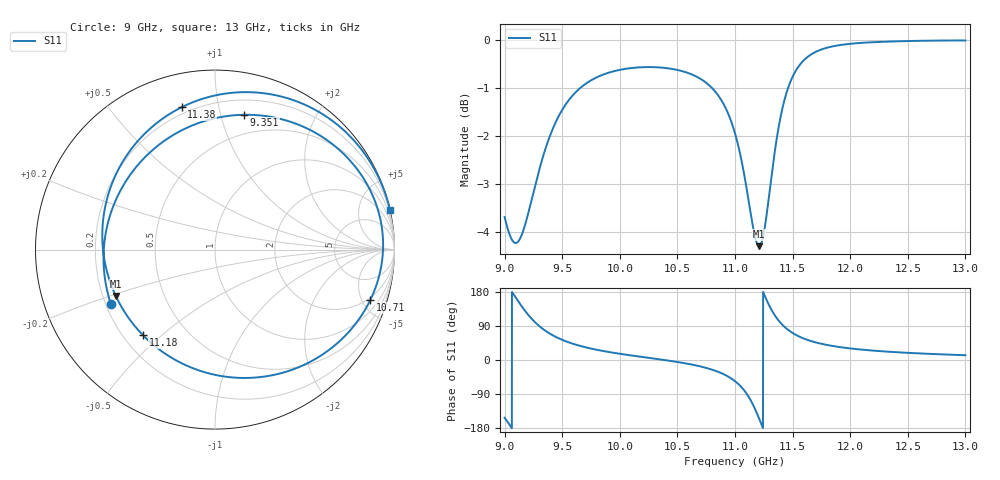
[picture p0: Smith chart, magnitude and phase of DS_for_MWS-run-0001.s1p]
! TOUCHSTONE file generated by CST DESIGN STUDIO
! Date and time: Tue Feb  4 16:47:05 2025
! Project name: C:\Work\MatlabApps\UnitCellOptimizationMatlab\CST\unitcell.cst
! Tree item: Tasks\Sweep1\SPara1\S-Parameters
! Header version: 2024
! Port assignment regex: !\s*Touchstone port\s*([0-9]+)\s*=\s*(CST MWS port|CST DES external port|CST DES block port)\s*(.+)\s* \(\"(.*)\"\)(\s*mode\s*([0-9]+))?.*
! Touchstone port assignment:
! Touchstone port 1 = CST DES external port 1 ("")
# GHz S MA R 50
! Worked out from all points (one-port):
!   4001 points, 9 GHz to 13 GHz, reference 50 ohm
!   lowest |S11| = -4.3 dB at 11.21 GHz (marker M1), VSWR 4.13, Z = 12.7 - j10.4 ohm
!   |S11| at or under -10 dB: nowhere
!   S11 on the Smith chart (normalised r, x): 9 GHz: 0.22, -0.23; 9.351 GHz: 0.32, +1.19; 10.71 GHz: 1.78, -5.80; 11.18 GHz: 0.28, -0.44; 11.38 GHz: 0.17, +0.78; 13 GHz: 0.01, +9.04
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9  0.6544 -152.4
9.093  0.6148 166.3
9.193  0.6519 123.6
9.267  0.7073 98.8
9.351  0.7686 77.8
9.5  0.8463 53.2
9.709  0.902 33.1
10  0.9317 16.4
10.5  0.9315 -5.2
10.713  0.9098 -17.9
10.879  0.8673 -34.4
11  0.8 -55.9
11.101  0.7006 -88.9
11.139  0.6569 -107.9
11.175  0.6233 -130.0
11.21  0.6102 -154.9
11.246  0.626 178.2
11.282  0.6683 153.1
11.332  0.7454 124.4
11.381  0.8147 103.2
11.433  0.8699 86.6
11.5  0.9165 71.3
11.588  0.9509 57.7
11.693  0.9718 47.1
11.826  0.9844 38.2
12  0.9918 30.6
12.5  0.9984 18.9
13  0.9998 12.6
